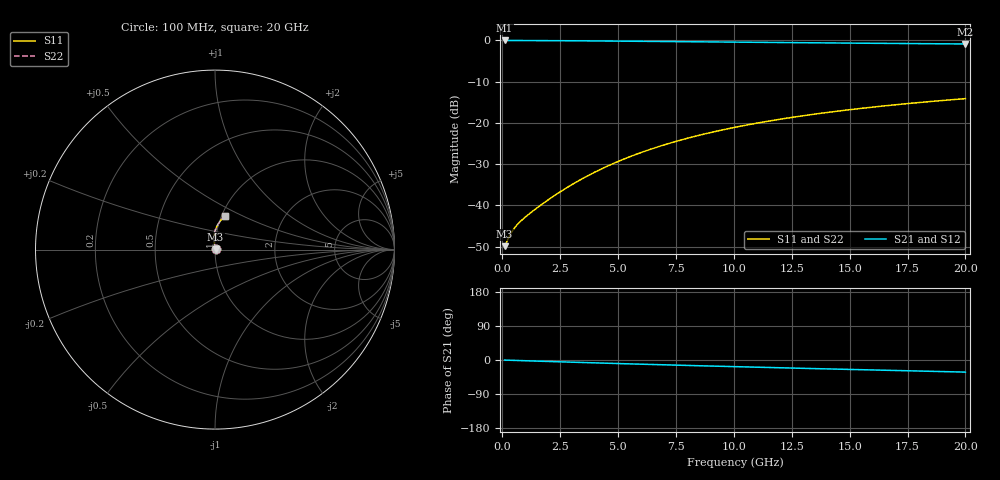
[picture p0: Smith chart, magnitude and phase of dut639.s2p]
! Touchstone file exported from HFSS 2024.1.0
!  File:  C:/UserFiles/LocalFiles/RDL_TSV_Batchsim/temp_RDL_top_639_1779780905.aedt
!  Generated:  03:37:08 PM May 26, 2026
!  Design:  RDL_top
!  Project:  temp_RDL_top_639_1779780905
!  Setup:  Setup1
!  Solution:  Sweep
! Variables:
!  dtsv = 10.80580581um
!  hbump = 3um
!  htsv = 81.24um
!  ldown = 100um
!  lrdl = 521.1um
!  p = 40
!  p1 = 41.44um
!  rhole = 1um
!  t = 450um
!  tdown = 3.915915916um
!  trdl = 2.32um
!  wdown = 15.38538539um
!  wrdl = 29.65um
# GHz S MA R 50.000000
! Terminal data exported
! Port[1] = Box2_T1
! Port[2] = Box2_T2
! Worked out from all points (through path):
!   200 points, 100 MHz to 20 GHz, reference 50 ohm
!   highest |S21| = -0.03 dB at 100 MHz (marker M1); lowest = -0.9 dB at 20 GHz (marker M2)
!   group delay of S21, straight-line fit = 4.37 ps
!   lowest |S11| = -49.9 dB at 100 MHz (marker M3), VSWR 1.01, Z = 50.3 + j0.0872 ohm
!   |S11| at or under -10 dB: start of sweep to end of sweep
!   |S22| runs from -49.9 to -14.1 dB; largest |S21 - S12| = 4.1e-15
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0.1  0.003198 15.7  0.9969 -0.2  0.9969 -0.2  0.003198 15.7
! Gamma 0 0 0 0
! Port Impedance 50 0 50 0
0.3  0.00418 34.6  0.9964 -0.6  0.9964 -0.6  0.00418 34.6
0.4  0.004708 39.4  0.9962 -0.8  0.9962 -0.8  0.004708 39.4
0.5  0.005195 43.0  0.9959 -1.0  0.9959 -1.0  0.005195 43.0
0.7  0.006056 48.8  0.9954 -1.4  0.9954 -1.4  0.006056 48.8
0.9  0.006844 53.9  0.9949 -1.8  0.9949 -1.8  0.006844 53.9
1.4  0.008872 65.2  0.9938 -2.8  0.9938 -2.8  0.008872 65.2
2.1  0.01228 77.3  0.9918 -4.1  0.9918 -4.1  0.01228 77.3
2.8  0.01645 85.4  0.9894 -5.4  0.9894 -5.4  0.01645 85.4
3.5  0.02136 90.7  0.9864 -6.7  0.9864 -6.7  0.02135 90.7
4.3  0.02778 94.4  0.9826 -8.2  0.9826 -8.2  0.02777 94.4
5.1  0.03494 96.3  0.9784 -9.6  0.9784 -9.6  0.03493 96.3
5.9  0.04271 97.0  0.974 -10.9  0.974 -10.9  0.0427 97.0
6.8  0.05202 96.9  0.9689 -12.4  0.9689 -12.4  0.052 96.9
7.6  0.06066 96.2  0.9643 -13.7  0.9643 -13.7  0.06064 96.2
8.4  0.06955 95.2  0.9597 -15.0  0.9597 -15.0  0.06952 95.2
10.1  0.08887 92.4  0.9504 -17.7  0.9504 -17.7  0.08884 92.4
11.7  0.1072 89.3  0.9419 -20.1  0.9419 -20.1  0.1072 89.3
13.4  0.1265 85.9  0.9334 -22.6  0.9334 -22.6  0.1265 85.9
15  0.1443 82.8  0.9258 -24.9  0.9258 -24.9  0.1442 82.7
16.7  0.1627 79.4  0.9181 -27.3  0.9181 -27.3  0.1626 79.4
20  0.1965 73.3  0.9038 -32.0  0.9038 -32.0  0.1964 73.3
